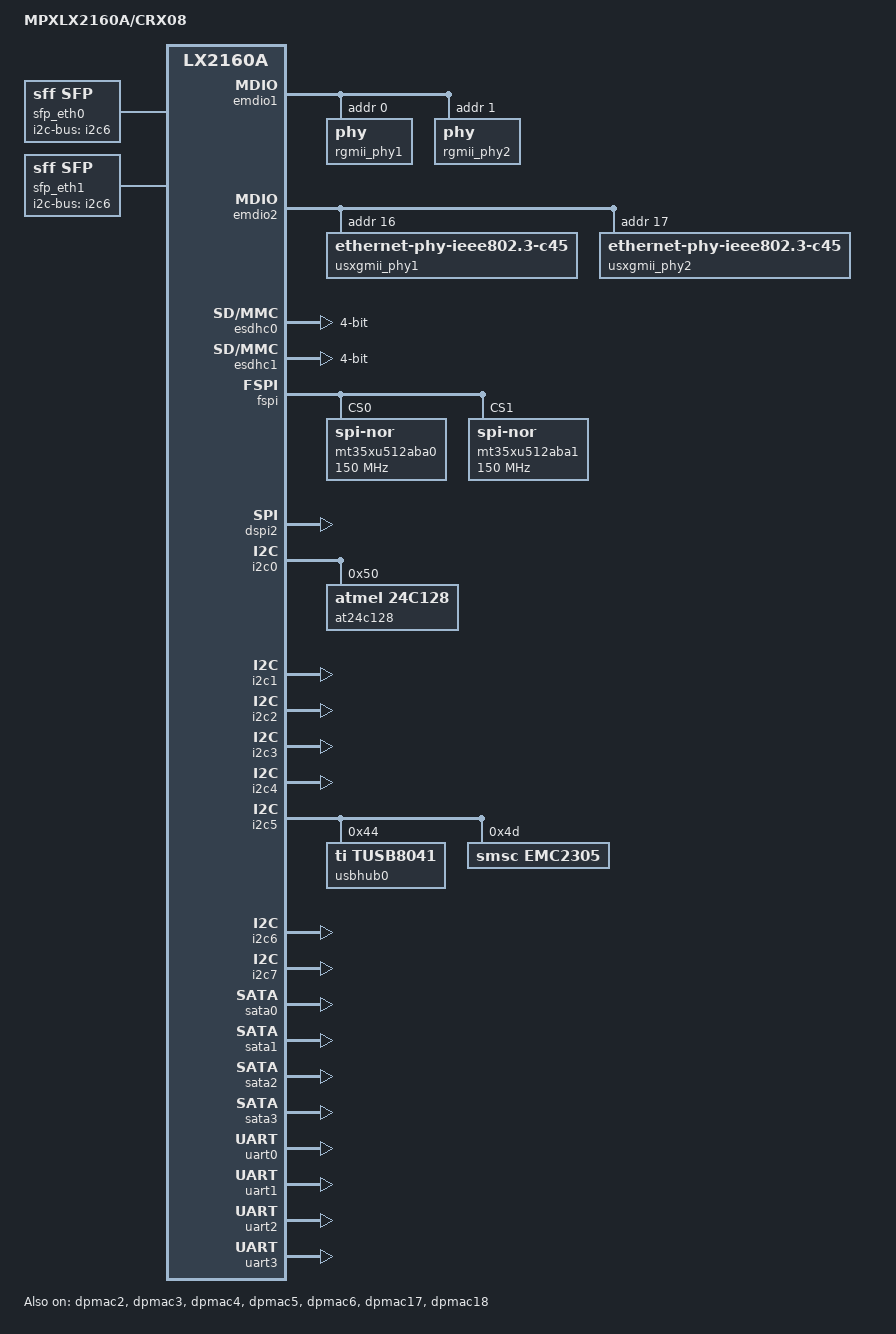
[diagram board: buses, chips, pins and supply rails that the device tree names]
// SPDX-License-Identifier: GPL-2.0+ OR X11
/*
 * MicroSys MPXLX2160A/CRX08 device tree source
 *
 * Author: Kay Potthoff <kay.potthoff@microsys.de>
 *
 * Copyright (C) 2020 MicroSys Electronics GmbH
 *
 */

/dts-v1/;

#include "fsl-lx2160a.dtsi"

/ {
	model = "MPXLX2160A/CRX08";
	compatible = "fsl,lx2160ardb", "fsl,lx2160a";
	aliases {
		spi0 = &fspi;
	};

	sfp_eth0: sfp-eth0 {
		compatible = "sff,sfp";
		i2c-bus = <&i2c6>;
	};

	sfp_eth1: sfp-eth1 {
		compatible = "sff,sfp";
		i2c-bus = <&i2c6>;
	};

};

&dpmac2 {
	status = "okay";
	phy-connection-type = "xlaui4";
};

&dpmac3 {
	status = "okay";
	phy-handle = <&usxgmii_phy1>;
	phy-connection-type = "usxgmii";
};

&dpmac4 {
	status = "okay";
	phy-handle = <&usxgmii_phy2>;
	phy-connection-type = "usxgmii";
};

&dpmac5 {
	status = "okay";
	phy-connection-type = "25g-aui";
};

&dpmac6 {
	status = "okay";
	phy-connection-type = "25g-aui";
};

&dpmac17 {
	status = "okay";
	phy-handle = <&rgmii_phy1>;
	phy-connection-type = "rgmii-id";
};

&dpmac18 {
	status = "okay";
	phy-handle = <&rgmii_phy2>;
	phy-connection-type = "rgmii-id";
};

&emdio1 {
	status = "okay";

	rgmii_phy1: phy@0 {
		reg = <0>;
	};
	rgmii_phy2: phy@1 {
		reg = <1>;
	};
};

&emdio2 {
	status = "okay";

	usxgmii_phy1: phy@10 {
		compatible = "ethernet-phy-ieee802.3-c45";
		reg = <0x10>;
	};

	usxgmii_phy2: phy@11 {
		compatible = "ethernet-phy-ieee802.3-c45";
		reg = <0x11>;
	};

};

&esdhc0 {
	status = "okay";
	bus-width = <4>;
};

&esdhc1 {
	status = "okay";
	bus-width = <4>;
	mmc-hs200-1_8v;
};

&fspi {
	status = "okay";

	mt35xu512aba0: flash@0 {
		#address-cells = <1>;
		#size-cells = <1>;
		compatible = "jedec,spi-nor";
		spi-max-frequency = <150000000>;
		reg = <0>;
	};

	mt35xu512aba1: flash@1 {
		#address-cells = <1>;
		#size-cells = <1>;
		compatible = "jedec,spi-nor";
		spi-max-frequency = <150000000>;
		reg = <1>;
	};
};



&dspi2 {
    status = "okay";
};

&i2c0 {
	status = "okay";
	u-boot,dm-pre-reloc;
	at24c128: eeprom@50 {
		compatible = "atmel,24c128";
		reg = <0x50>;
	};

};

&i2c1 {
	status = "okay";
};

&i2c2 {
	status = "okay";
};

&i2c3 {
	status = "okay";
};

&i2c4 {
	status = "okay";
};

&i2c5 {
	status = "okay";
    u-boot,dm-pre-reloc;

    usbhub0: usbhub@44 { // TUSB8041
        compatible = "ti,tusb8041";
        reg = <0x44>;
        u-boot,i2c-offset-len = <1>;
    };

    emc2305@4d {
		compatible = "smsc,emc2305";
		#address-cells = <1>;
		#size-cells = <0>;
		reg = <0x4d>;
		fan@0 {
			reg = <0>;
		};
		fan@1 {
			reg = <1>;
		};
    };
};

&i2c6{
    status = "okay";
};

&i2c7 {
    status = "okay";
};

&sata0 {
	status = "okay";
};

&sata1 {
	status = "okay";
};

&sata2 {
	status = "okay";
};

&sata3 {
	status = "okay";
};

&uart0 {
	status = "okay";
};

&uart1 {
	status = "okay";
};

&uart2 {
	status = "okay";
};

&uart3 {
	status = "okay";
};
